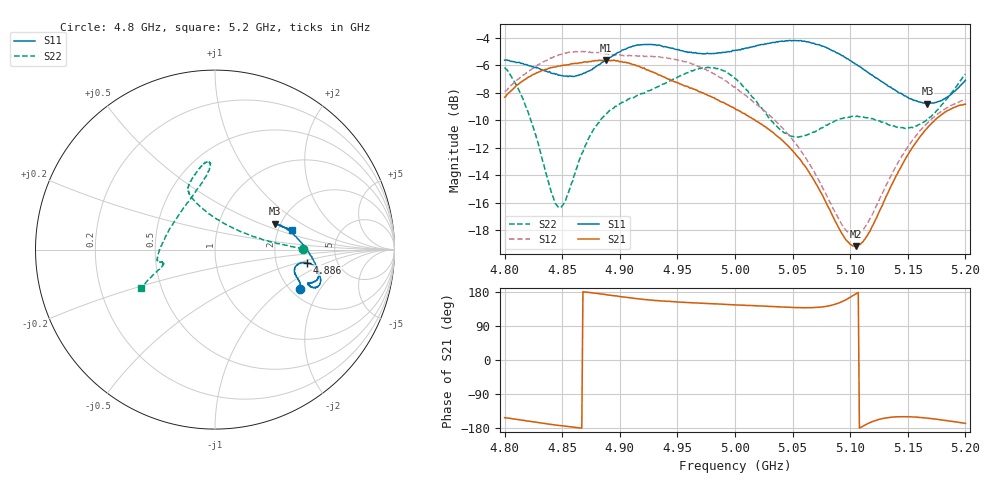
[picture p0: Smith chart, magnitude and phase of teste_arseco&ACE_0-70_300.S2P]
! Network Analyzer HP8722D
! Hewlett-Packard
! Data name: Linha & Wilkinson
! Saver's name: Rodrigo Anjos
! Comments: Teste da utilização de aquisição
! continua pelo VNA HP8722D
! Time and date: 8/5/2025 15:15
!  Frequency  S11  S21  S12  S22
# HZ  S  MA R 50
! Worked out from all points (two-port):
!   401 points, 4.8 GHz to 5.2 GHz, reference 50 ohm
!   highest |S21| = -5.62 dB at 4.888 GHz (marker M1); lowest = -19.2 dB at 5.105 GHz (marker M2)
!   |S21| within 3 dB of the highest: start of sweep to 4.987 GHz
!   lowest |S11| = -8.8 dB at 5.167 GHz (marker M3), VSWR 2.14, Z = 93.3 + j31 ohm
!   |S11| at or under -10 dB: nowhere
!   |S22| runs from -16.4 to -6.2 dB; largest |S21 - S12| = 1.1
!   S11 on the Smith chart (normalised r, x): 4.8 GHz: 2.24, -1.35; 4.886 GHz: 3.00, -0.59; 5.2 GHz: 2.36, +0.65
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4.8e9  0.5222 -24.9  0.3829 -152.2  0.4015 7.0  0.4915 0.6
4.818e9  0.5038 -21.0  0.445 -160.2  0.466 4.4  0.3576 5.3
4.84e9  0.4693 -17.4  0.4907 -169.8  0.5318 1.0  0.1755 34.5
4.846e9  0.4621 -16.0  0.4969 -172.2  0.5426 -0.2  0.1538 55.6
4.853e9  0.457 -14.6  0.5012 -174.7  0.5549 -1.5  0.162 80.6
4.867e9  0.4633 -10.6  0.5115 -179.9  0.5611 -3.4  0.2388 106.8
4.886e9  0.5157 -8.1  0.5224 173.5  0.5516 -4.4  0.3261 114.3
4.888e9  0.5235 -8.3  0.5234 172.3  0.551 -4.4  0.3317 114.6
4.912e9  0.5877 -11.8  0.5031 162.8  0.5421 -3.6  0.3816 112.8
4.934e9  0.5925 -16.9  0.4613 156.2  0.537 -4.3  0.4201 107.0
4.971e9  0.5513 -19.8  0.3979 149.8  0.4894 -7.4  0.4891 95.9
5e9  0.5668 -20.9  0.3485 145.5  0.4179 -7.5  0.4485 94.0
5.041e9  0.6115 -19.2  0.267 140.0  0.2968 0.1  0.2883 128.3
5.067e9  0.6024 -14.2  0.1964 138.1  0.2114 8.4  0.285 165.3
5.094e9  0.5412 -4.2  0.1204 155.6  0.1297 35.2  0.3214 -173.4
5.105e9  0.5048 0.9  0.1102 174.6  0.1208 56.8  0.3259 -169.8
5.115e9  0.4729 6.2  0.1207 -168.2  0.1336 75.3  0.3227 -167.7
5.134e9  0.418 15.7  0.1766 -151.5  0.1932 94.0  0.3036 -166.7
5.152e9  0.378 22.0  0.2443 -150.0  0.2596 98.8  0.297 -164.7
5.167e9  0.3634 23.4  0.2964 -153.4  0.3088 99.2  0.3188 -161.7
5.183e9  0.3806 20.8  0.3391 -159.7  0.349 99.0  0.374 -157.6
5.2e9  0.4416 14.6  0.3612 -167.0  0.3762 99.7  0.4648 -152.4
